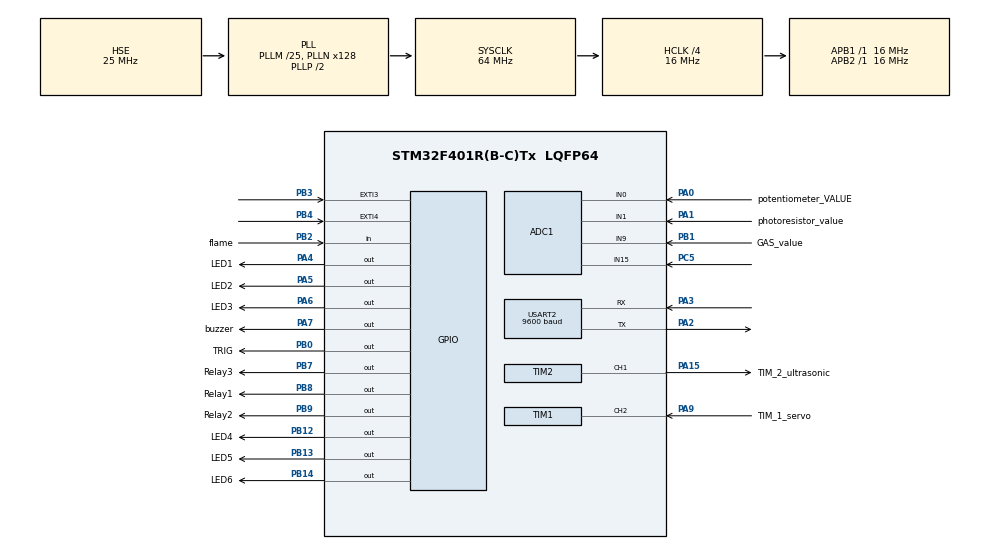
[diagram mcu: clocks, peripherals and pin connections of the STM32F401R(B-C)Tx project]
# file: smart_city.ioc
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ADC1.Channel-1\#ChannelRegularConversion=ADC_CHANNEL_0
ADC1.ContinuousConvMode=DISABLE
ADC1.DMAContinuousRequests=DISABLE
ADC1.NbrOfConversion=1
ADC1.NbrOfConversionFlag=1
ADC1.Rank-1\#ChannelRegularConversion=1
ADC1.SamplingTime-1\#ChannelRegularConversion=ADC_SAMPLETIME_3CYCLES
ADC1.master=1
Dma.ADC1.0.Direction=DMA_PERIPH_TO_MEMORY
Dma.ADC1.0.FIFOMode=DMA_FIFOMODE_DISABLE
Dma.ADC1.0.Instance=DMA2_Stream0
Dma.ADC1.0.MemDataAlignment=DMA_MDATAALIGN_HALFWORD
Dma.ADC1.0.MemInc=DMA_MINC_ENABLE
Dma.ADC1.0.Mode=DMA_CIRCULAR
Dma.ADC1.0.PeriphDataAlignment=DMA_PDATAALIGN_HALFWORD
Dma.ADC1.0.PeriphInc=DMA_PINC_DISABLE
Dma.ADC1.0.Priority=DMA_PRIORITY_LOW
Dma.Request0=ADC1
Mcu.Family=STM32F4
Mcu.Name=STM32F401R(B-C)Tx
Mcu.Package=LQFP64
NVIC.ADC_IRQn=true\:0\:0\:false\:false\:true\:true\:true\:true
NVIC.DMA2_Stream0_IRQn=true\:0\:0\:false\:false\:true\:false\:true\:true
NVIC.PriorityGroup=NVIC_PRIORITYGROUP_4
NVIC.TIM1_BRK_TIM9_IRQn=true\:0\:0\:false\:false\:true\:true\:true\:true
NVIC.TIM1_CC_IRQn=true\:0\:0\:false\:false\:true\:true\:true\:true
NVIC.TIM1_TRG_COM_TIM11_IRQn=true\:0\:0\:false\:false\:true\:true\:true\:true
NVIC.TIM1_UP_TIM10_IRQn=true\:0\:0\:false\:false\:true\:true\:true\:true
NVIC.TIM2_IRQn=true\:0\:0\:false\:false\:true\:true\:true\:true
NVIC.USART2_IRQn=true\:0\:0\:false\:false\:true\:true\:true\:true
PA0-WKUP.GPIO_Label=potentiometer_VALUE
PA0-WKUP.Signal=ADCx_IN0
PA1.GPIO_Label=photoresistor_value
PA1.Signal=ADCx_IN1
PA13.Mode=Serial_Wire
PA13.Signal=SYS_JTMS-SWDIO
PA14.Mode=Serial_Wire
PA14.Signal=SYS_JTCK-SWCLK
PA15.GPIO_Label=TIM_2_ultrasonic
PA15.Signal=S_TIM2_CH1_ETR
PA2.Mode=Asynchronous
PA2.Signal=USART2_TX
PA3.Mode=Asynchronous
PA3.Signal=USART2_RX
PA4.GPIO_Label=LED1
PA4.Signal=GPIO_Output
PA5.GPIO_Label=LED2
PA5.Signal=GPIO_Output
PA6.GPIO_Label=LED3
PA6.Signal=GPIO_Output
PA7.GPIO_Label=buzzer
PA7.Signal=GPIO_Output
PA9.GPIO_Label=TIM_1_servo
PA9.Signal=S_TIM1_CH2
PB0.GPIO_Label=TRIG
PB0.Signal=GPIO_Output
PB1.GPIO_Label=GAS_value
PB1.Signal=ADCx_IN9
PB12.GPIO_Label=LED4
PB12.Signal=GPIO_Output
PB13.GPIO_Label=LED5
PB13.Signal=GPIO_Output
PB14.GPIO_Label=LED6
PB14.Signal=GPIO_Output
PB2.GPIO_Label=flame
PB2.Signal=GPIO_Input
PB3.GPIO_ModeDefaultEXTI=GPIO_MODE_IT_RISING
PB3.Signal=GPXTI3
PB4.Signal=GPXTI4
PB7.GPIO_Label=Relay3
PB7.GPIO_ModeDefaultOutputPP=GPIO_MODE_OUTPUT_OD
PB7.GPIO_PuPd=GPIO_NOPULL
PB7.Signal=GPIO_Output
PB8.GPIO_Label=Relay1
PB8.GPIO_ModeDefaultOutputPP=GPIO_MODE_OUTPUT_OD
PB8.GPIO_PuPd=GPIO_NOPULL
PB8.Signal=GPIO_Output
PB9.GPIO_Label=Relay2
PB9.GPIO_ModeDefaultOutputPP=GPIO_MODE_OUTPUT_OD
PB9.GPIO_PuPd=GPIO_NOPULL
PB9.Signal=GPIO_Output
PC5.Signal=ADCx_IN15
PH0\ -\ OSC_IN.Mode=HSE-External-Oscillator
PH0\ -\ OSC_IN.Signal=RCC_OSC_IN
PH1\ -\ OSC_OUT.Mode=HSE-External-Oscillator
PH1\ -\ OSC_OUT.Signal=RCC_OSC_OUT
ProjectManager.HeapSize=0x200
ProjectManager.StackSize=0x400
ProjectManager.TargetToolchain=STM32CubeIDE
RCC.48MHZClocksFreq_Value=32000000
RCC.AHBCLKDivider=RCC_SYSCLK_DIV4
RCC.AHBFreq_Value=16000000
RCC.APB1Freq_Value=16000000
RCC.APB1TimFreq_Value=16000000
RCC.APB2Freq_Value=16000000
RCC.APB2TimFreq_Value=16000000
RCC.CortexFreq_Value=16000000
RCC.HCLKFreq_Value=16000000
RCC.HSE_VALUE=25000000
RCC.HSI_VALUE=16000000
RCC.LSE_VALUE=32768
RCC.PLLM=25
RCC.PLLN=128
RCC.PLLSourceVirtual=RCC_PLLSOURCE_HSE
RCC.SYSCLKFreq_VALUE=64000000
RCC.SYSCLKSource=RCC_SYSCLKSOURCE_PLLCLK
RCC.VCOOutputFreq_Value=128000000
SH.ADCx_IN0.0=ADC1_IN0,IN0
SH.ADCx_IN1.0=ADC1_IN1,IN1
SH.ADCx_IN15.0=ADC1_IN15,IN15
SH.ADCx_IN9.0=ADC1_IN9,IN9
SH.S_TIM1_CH2.0=TIM1_CH2,Input_Capture2_from_TI2
SH.S_TIM2_CH1_ETR.0=TIM2_CH1,PWM Generation1 CH1
TIM1.Channel-Input_Capture2_from_TI2=TIM_CHANNEL_2
TIM1.Period=65535
TIM1.Prescaler=16-1
TIM10.Period=10000-1
TIM10.Prescaler=16000-1
TIM11.Period=10000-1
TIM11.Prescaler=1600-1
TIM2.Channel-PWM\ Generation1\ CH1=TIM_CHANNEL_1
TIM2.Period=2000-1
TIM2.Prescaler=160-1
USART2.BaudRate=9600
USART2.VirtualMode=VM_ASYNC
VP_TIM10_VS_ClockSourceINT.Mode=Enable_Timer
VP_TIM11_VS_ClockSourceINT.Mode=Enable_Timer
VP_TIM1_VS_ClockSourceINT.Mode=Internal
VP_TIM2_VS_ClockSourceINT.Mode=Internal
board=custom

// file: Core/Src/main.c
/* USER CODE BEGIN Header */
/**
  ******************************************************************************
  * @file           : main.c
  * @brief          : Main program body
  ******************************************************************************
  * @attention
  *
  * Copyright (c) 2024 STMicroelectronics.
  * All rights reserved.
  *
  * This software is licensed under terms that can be found in the LICENSE file
  * in the root directory of this software component.
  * If no LICENSE file comes with this software, it is provided AS-IS.
  *
  ******************************************************************************
  */
/* USER CODE END Header */
#include "main.h"
#include "adc.h"
#include "dma.h"
#include "tim.h"
#include "usart.h"
#include "gpio.h"

/* USER CODE BEGIN Includes */
#include "stdio.h"
#include "string.h"
#include "stander_file.h"
#include "keypad_cfg.h"

#include "servo_cfg.h"
#include "ultrasonic_cfg.h"
/* USER CODE END Includes */

/* USER CODE BEGIN PTD */
void HAL_TIM_IC_CaptureCallback(TIM_HandleTypeDef *htim);
/* USER CODE END PTD */

/* USER CODE BEGIN PD */
#define NUM_CHANNELS 3  // Number of ADC channels (photoresistor and potentiometer)
#define PHOTORESISTOR_CHANNEL ADC_CHANNEL_0  // ADC channel for the photoresistor
#define POTENTIOMETER_CHANNEL ADC_CHANNEL_1  // ADC channel for the potentiometer
#define GAS_CHANNEL           ADC_CHANNEL_2  // ADC channel for the gas

/* USER CODE END PD */

/* USER CODE BEGIN PV */
HAL_StatusTypeDef ret;                // return status
uint32_t IC_Val1 ;                    // for ultasonic read
uint32_t IC_Val2 ;                    // for ultasonic read
uint32_t Difference ;                 // different between val1 and val2
uint8_t Is_First_Captured ;           // is the first value captured ?
uint8_t Distance ;                    // distance from ultrasonic

uint8_t ir_sensor ;
uint8_t gas_sensor ;
uint8_t flam_sensor ;

uint32_t ADC_VALUE[NUM_CHANNELS] ;             // Array to store ADC results
uint32_t photoresistor_value = 0;              // value between 0 : 100
uint32_t potentiometer_value = 0;              // value between 0 : 100
uint32_t gas_value = 0;                        // value between 0 : 100
uint8_t  flame_value = 1 ;                     // value between 0 : 1  defualte 1
uint8_t  uart_recieve ;                        //recieve data from uaer

uint32_t previousMillis = 0;
uint32_t currentMillis  = 0;
uint32_t counterOutside = 0;                  //For testing only
uint32_t counterInside  = 0;                  //For testing only
uint32_t counterInside2 = 0;                  //For testing only

/* USER CODE END PV */

void SystemClock_Config(void);

/* USER CODE BEGIN 0 */
void HAL_TIM_IC_CaptureCallback(TIM_HandleTypeDef *htim)
{
   if (htim->Channel == HAL_TIM_ACTIVE_CHANNEL_2)  // if the interrupt source is channel1
   {
       if (Is_First_Captured == 0) // if the first value is not captured
       {
           IC_Val1 = HAL_TIM_ReadCapturedValue(htim, TIM_CHANNEL_2); // read the first value
           Is_First_Captured = 1;  // set the first captured as true
           // Now change the polarity to falling edge
           __HAL_TIM_SET_CAPTUREPOLARITY(htim, TIM_CHANNEL_2, TIM_INPUTCHANNELPOLARITY_FALLING);
       }

       else if (Is_First_Captured == 1)   // if the first is already captured
       {
           IC_Val2 = HAL_TIM_ReadCapturedValue(htim, TIM_CHANNEL_2);  // read second value
           __HAL_TIM_SET_COUNTER(htim, 0);  // reset the counter

           if (IC_Val2 > IC_Val1)
           {
               Difference = IC_Val2-IC_Val1;
           }

           else if (IC_Val1 > IC_Val2)
           {
               Difference = (0xffff - IC_Val1) + IC_Val2;
           }

           Distance = Difference * (0.034/2);
           Is_First_Captured = 0; // set it back to false

           // set polarity to rising edge
           __HAL_TIM_SET_CAPTUREPOLARITY(htim, TIM_CHANNEL_2, TIM_INPUTCHANNELPOLARITY_RISING);
           __HAL_TIM_DISABLE_IT(&htim1, TIM_IT_CC2);
       }
   }
}

/* USER CODE END 0 */

int main(void)
{

  /* MCU Configuration--------------------------------------------------------*/

  /* Reset of all peripherals, Initializes the Flash interface and the Systick. */
  HAL_Init();

  /* Configure the system clock */
  SystemClock_Config();

  /* Initialize all configured peripherals */
  MX_GPIO_Init();
  MX_DMA_Init();
  MX_TIM1_Init();
  MX_TIM2_Init();
  MX_ADC1_Init();
  MX_TIM10_Init();
  MX_TIM11_Init();
  MX_USART2_UART_Init();
  /* USER CODE BEGIN 2 */
  HAL_UART_Receive_IT(&huart2,&uart_recieve,1);
  HAL_TIM_IC_Start_IT(&htim1, TIM_CHANNEL_2);                  //start timer for ultasonic

  //HAL_ADC_Start_DMA(&hadc1, adc_values, NUM_CHANNELS);

  /* USER CODE END 2 */

  /* Infinite loop */
  /* USER CODE BEGIN WHILE */
  while (1)
  {

	  //servo_Motor_Start_angle_90(&servo);
	  HCSR04_Read(&ultra_1);
	  if(uart_recieve == 'a'){
		  servo_Motor_Start_angle_90(&servo);
	  }else{
		  if(Distance <= 9){
		  	  servo_Motor_Start_angle_90(&servo);
		  }else{
		  	  servo_Motor_ADC_Control(&servo,potentiometer_value);
		  }
	  }

	  // Read the photoresistor channel
	  ADC_ChannelConfTypeDef sConfig = {0};
	  sConfig.Channel = ADC_CHANNEL_0;
	  sConfig.Rank = 1;
	  sConfig.SamplingTime = ADC_SAMPLETIME_15CYCLES;
	  HAL_ADC_ConfigChannel(&hadc1, &sConfig);  // Configure ADC to photoresistor channel

	  HAL_ADC_Start(&hadc1);
	  if (HAL_ADC_PollForConversion(&hadc1, HAL_MAX_DELAY) == HAL_OK)
	  {
	     ADC_VALUE[0] = HAL_ADC_GetValue(&hadc1);
	  }
	  HAL_ADC_Stop(&hadc1);  // Stop ADC after reading
	  potentiometer_value = ((ADC_VALUE[0] * 100)/4100);

	  // Read the potentiometer channel
	  sConfig.Channel = ADC_CHANNEL_1;
	  sConfig.Rank = 1;
	  HAL_ADC_ConfigChannel(&hadc1, &sConfig);  // Configure ADC to potentiometer channel

	  HAL_ADC_Start(&hadc1);
	  if (HAL_ADC_PollForConversion(&hadc1, HAL_MAX_DELAY) == HAL_OK)
	  {
	      ADC_VALUE[1] = HAL_ADC_GetValue(&hadc1);
	  }
	  HAL_ADC_Stop(&hadc1);  // Stop ADC after reading
	  photoresistor_value = ((ADC_VALUE[1] * 100)/4000);

	   sConfig.Channel = ADC_CHANNEL_9;
	   sConfig.Rank = 1;
	   sConfig.SamplingTime = ADC_SAMPLETIME_15CYCLES;
	   HAL_ADC_ConfigChannel(&hadc1, &sConfig);  // Configure ADC to photoresistor channel

	   HAL_ADC_Start(&hadc1);
	   if (HAL_ADC_PollForConversion(&hadc1, HAL_MAX_DELAY) == HAL_OK)
	   {
	       ADC_VALUE[2] = HAL_ADC_GetValue(&hadc1);
	   }
	   HAL_ADC_Stop(&hadc1);  // Stop ADC after reading
	   gas_value = ((ADC_VALUE[2] * 100)/4000);

	   // photo resistance chick
	   if(uart_recieve == 'b'){
		   HAL_GPIO_WritePin(GPIOA, LED1_Pin, GPIO_PIN_SET);
		   HAL_GPIO_WritePin(GPIOB, LED4_Pin, GPIO_PIN_SET);
		   HAL_Delay(20);
		   HAL_GPIO_WritePin(GPIOA, LED2_Pin, GPIO_PIN_SET);
		   HAL_GPIO_WritePin(GPIOB, LED5_Pin, GPIO_PIN_SET);
		   HAL_Delay(20);
		   HAL_GPIO_WritePin(GPIOA, LED3_Pin, GPIO_PIN_SET);
		   HAL_GPIO_WritePin(GPIOB, LED6_Pin, GPIO_PIN_SET);
	   }else if(uart_recieve == 'c'){
		   HAL_GPIO_WritePin(GPIOA,LED1_Pin|LED2_Pin|LED3_Pin,GPIO_PIN_RESET);
		   HAL_GPIO_WritePin(GPIOB,LED4_Pin|LED5_Pin|LED6_Pin,GPIO_PIN_RESET);
	   }else{
		   if(photoresistor_value < 12){
			   HAL_GPIO_WritePin(GPIOA, LED1_Pin, GPIO_PIN_SET);
			   HAL_GPIO_WritePin(GPIOB, LED4_Pin, GPIO_PIN_SET);
			   HAL_Delay(20);
			   HAL_GPIO_WritePin(GPIOA, LED2_Pin, GPIO_PIN_SET);
			   HAL_GPIO_WritePin(GPIOB, LED5_Pin, GPIO_PIN_SET);
			   HAL_Delay(20);
			   HAL_GPIO_WritePin(GPIOA, LED3_Pin, GPIO_PIN_SET);
			   HAL_GPIO_WritePin(GPIOB, LED6_Pin, GPIO_PIN_SET);
		   }else{
			   HAL_GPIO_WritePin(GPIOA,LED1_Pin|LED2_Pin|LED3_Pin,GPIO_PIN_RESET);
			   HAL_GPIO_WritePin(GPIOB,LED4_Pin|LED5_Pin|LED6_Pin,GPIO_PIN_RESET);
		   }
	   }
	   // buzzer and water pump
	   	flame_value = HAL_GPIO_ReadPin(flame_GPIO_Port, flame_Pin);  // reed logic of flame sensor
	   	if(uart_recieve == 'f'){
	   		HAL_GPIO_WritePin(GPIOB, Relay3_Pin, GPIO_PIN_SET);
	   	}else{
		   	if((gas_value < 5) || (flame_value == 0)){
		    // pump initialization
		   	HAL_GPIO_WritePin(GPIOA, buzzer_Pin, GPIO_PIN_SET);
		   	HAL_GPIO_WritePin(GPIOB, Relay3_Pin, GPIO_PIN_RESET);
		   	}else{
		   		HAL_GPIO_WritePin(GPIOA, buzzer_Pin, GPIO_PIN_RESET);
		   		HAL_GPIO_WritePin(GPIOB, Relay3_Pin, GPIO_PIN_SET);
		   	}
	   	}

	   if(uart_recieve == 'd'){
	   		HAL_GPIO_WritePin(GPIOA, buzzer_Pin, GPIO_PIN_SET);
	   		HAL_GPIO_WritePin(GPIOB, Relay3_Pin, GPIO_PIN_RESET);
	   }else if (uart_recieve == 'e'){
	   		HAL_GPIO_WritePin(GPIOA, buzzer_Pin, GPIO_PIN_RESET);
	   		HAL_GPIO_WritePin(GPIOB, Relay3_Pin, GPIO_PIN_SET);
	   }

//	   if(uart_recieve == 'j'){
//		   HAL_GPIO_WritePin(GPIOB, Relay1_Pin, GPIO_PIN_SET);
//		   HAL_GPIO_WritePin(GPIOB, Relay2_Pin, GPIO_PIN_SET);
//	   }else if (uart_recieve == 'g'){
//		   HAL_GPIO_WritePin(GPIOB, Relay1_Pin, GPIO_PIN_SET);
//		   HAL_GPIO_WritePin(GPIOB, Relay2_Pin, GPIO_PIN_RESET);
//	   }else if (uart_recieve == 'h'){
//		   HAL_GPIO_WritePin(GPIOB, Relay1_Pin, GPIO_PIN_RESET);
//		   HAL_GPIO_WritePin(GPIOB, Relay2_Pin, GPIO_PIN_SET);
//	   }

    /* USER CODE END WHILE */

  }
}

void SystemClock_Config(void)
{
  RCC_OscInitTypeDef RCC_OscInitStruct = {0};
  RCC_ClkInitTypeDef RCC_ClkInitStruct = {0};

  /** Configure the main internal regulator output voltage
  */
  __HAL_RCC_PWR_CLK_ENABLE();
  __HAL_PWR_VOLTAGESCALING_CONFIG(PWR_REGULATOR_VOLTAGE_SCALE2);

  /** Initializes the RCC Oscillators according to the specified parameters
  * in the RCC_OscInitTypeDef structure.
  */
  RCC_OscInitStruct.OscillatorType = RCC_OSCILLATORTYPE_HSE;
  RCC_OscInitStruct.HSEState = RCC_HSE_ON;
  RCC_OscInitStruct.PLL.PLLState = RCC_PLL_ON;
  RCC_OscInitStruct.PLL.PLLSource = RCC_PLLSOURCE_HSE;
  RCC_OscInitStruct.PLL.PLLM = 25;
  RCC_OscInitStruct.PLL.PLLN = 128;
  RCC_OscInitStruct.PLL.PLLP = RCC_PLLP_DIV2;
  RCC_OscInitStruct.PLL.PLLQ = 4;
  if (HAL_RCC_OscConfig(&RCC_OscInitStruct) != HAL_OK)
  {
    Error_Handler();
  }

  /** Initializes the CPU, AHB and APB buses clocks
  */
  RCC_ClkInitStruct.ClockType = RCC_CLOCKTYPE_HCLK|RCC_CLOCKTYPE_SYSCLK
                              |RCC_CLOCKTYPE_PCLK1|RCC_CLOCKTYPE_PCLK2;
  RCC_ClkInitStruct.SYSCLKSource = RCC_SYSCLKSOURCE_PLLCLK;
  RCC_ClkInitStruct.AHBCLKDivider = RCC_SYSCLK_DIV4;
  RCC_ClkInitStruct.APB1CLKDivider = RCC_HCLK_DIV1;
  RCC_ClkInitStruct.APB2CLKDivider = RCC_HCLK_DIV1;

  if (HAL_RCC_ClockConfig(&RCC_ClkInitStruct, FLASH_LATENCY_0) != HAL_OK)
  {
    Error_Handler();
  }
}

/* USER CODE BEGIN 4 */
void HAL_UART_RxCpltCallback(UART_HandleTypeDef *huart){
	if(huart == &huart2){

		HAL_UART_Receive_IT(&huart2,&uart_recieve,1);
	}

}

void HAL_GPIO_EXTI_Callback(uint16_t GPIO_Pin)
{
  counterOutside++; //For testing only
  currentMillis = HAL_GetTick();
  if (GPIO_Pin == GPIO_PIN_3 && (currentMillis - previousMillis > 10))
  {
    counterInside++; //For testing only
    HAL_GPIO_WritePin(GPIOB, Relay1_Pin, GPIO_PIN_SET);
    HAL_GPIO_WritePin(GPIOB, Relay2_Pin, GPIO_PIN_RESET);
    HAL_TIM_Base_Start_IT(&htim10);

    previousMillis = currentMillis;
  }
  if (GPIO_Pin == GPIO_PIN_4 && (currentMillis - previousMillis > 10))
  {
    counterInside2++; //For testing only
    HAL_GPIO_WritePin(GPIOB, Relay1_Pin, GPIO_PIN_RESET);
    HAL_GPIO_WritePin(GPIOB, Relay2_Pin, GPIO_PIN_SET);
    HAL_TIM_Base_Start_IT(&htim10);

    previousMillis = currentMillis;
  }
}

void HAL_TIM_PeriodElapsedCallback(TIM_HandleTypeDef *htim)
{
    // Check if the interrupt was triggered by Timer 3

   if (htim->Instance == TIM10)
        {
	        HAL_GPIO_WritePin(GPIOB, Relay1_Pin, GPIO_PIN_RESET);
	        HAL_GPIO_WritePin(GPIOB, Relay2_Pin, GPIO_PIN_RESET);
	        HAL_TIM_Base_Stop_IT(&htim10);
        }
   if (htim->Instance == TIM11)
        {
	        HAL_GPIO_WritePin(GPIOB, Relay1_Pin, GPIO_PIN_RESET);
	        HAL_GPIO_WritePin(GPIOB, Relay2_Pin, GPIO_PIN_RESET);
	        HAL_TIM_Base_Stop_IT(&htim11);
        }
}

/* USER CODE END 4 */

void Error_Handler(void)
{
  __disable_irq();
  while (1)
  {
  }
}
